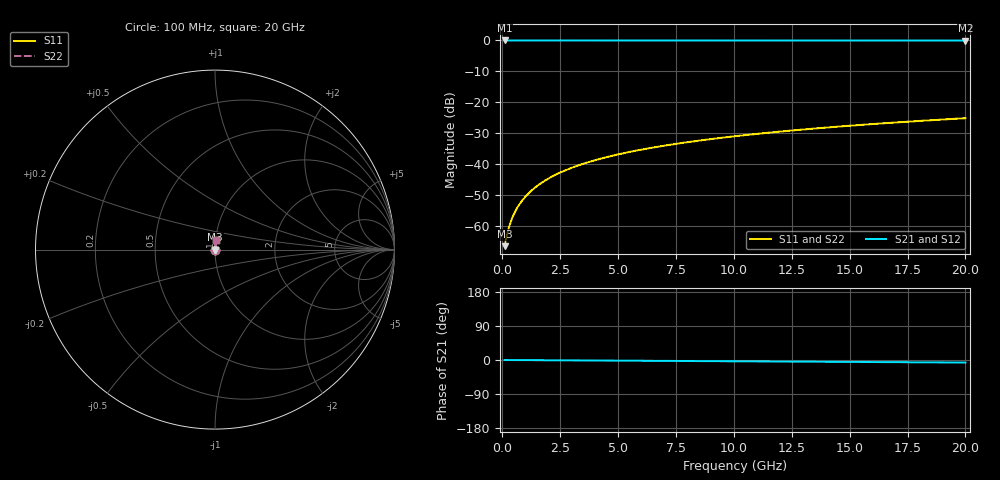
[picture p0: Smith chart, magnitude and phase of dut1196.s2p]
! Touchstone file exported from HFSS 2026.1.0
!  File:  C:/ffzhzh/LocalFiles/Ansys_Project_Files/temp_train_TSV_1196_1783192530_55132.aedt
!  Generated:  03:17:01 AM Jul  5, 2026
!  Design:  TSV
!  Project:  temp_train_TSV_1196_1783192530_55132
! Variables:
!  h_bsmrdl = 2um
!  h_ox = 20um
!  h_rdl = 5um
!  h_sub = 55.66um
!  h_tmrdl = 5um
!  h_tsv = 55.66um
!  h_via = 3um
!  l_bsmrdl = 300um
!  l_sub = 408.9um
!  l_tmrdl = 200um
!  m_sub = 200um
!  pitch = 37.41um
!  r_tsv = 4.45um
!  s_tmrdl = 10um
!  w_bsmrdl = 18um
!  w_sub = 500um
!  w_tmrdl = 12um
!  x_tsv_center1 = 206um
!  x_tsv_center2 = 524um
!  x_tsv_center3 = 736um
!  x_tsv_center4 = 1054um
!  x_tsv_center5 = 1266um
!  x_tsv_center6 = 1584um
# GHz S MA R 50.000000
! Terminal data exported
! Port[1] = TSV1_1_T1
! Port[2] = TSV1_1_T2
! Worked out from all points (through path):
!   200 points, 100 MHz to 20 GHz, reference 50 ohm
!   highest |S21| = 0.00 dB at 100 MHz (marker M1); lowest = 0.0 dB at 20 GHz (marker M2)
!   lowest |S11| = -66.5 dB at 100 MHz (marker M3), VSWR 1.00, Z = 50 + j0.031 ohm
!   |S11| at or under -10 dB: start of sweep to end of sweep
!   |S22| runs from -66.5 to -25.1 dB; largest |S21 - S12| = 3e-15
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0.1  0.0004722 41.0  0.9996 -0.0  0.9996 -0.0  0.0004722 41.0
! Gamma 0 0 0 0
! Port Impedance 50 0 50 0
0.2  0.0007161 59.1  0.9996 -0.1  0.9996 -0.1  0.0007161 59.1
0.3  0.0009903 67.4  0.9996 -0.1  0.9996 -0.1  0.0009903 67.4
0.4  0.001272 71.9  0.9996 -0.1  0.9996 -0.1  0.001272 71.9
0.5  0.001556 74.9  0.9996 -0.2  0.9996 -0.2  0.001556 74.9
0.6  0.001841 76.9  0.9996 -0.2  0.9996 -0.2  0.001841 76.9
0.8  0.002413 79.5  0.9996 -0.3  0.9996 -0.3  0.002413 79.5
1.1  0.003277 81.8  0.9995 -0.4  0.9995 -0.4  0.003277 81.8
1.5  0.004431 83.3  0.9995 -0.5  0.9995 -0.5  0.004431 83.3
1.8  0.005297 83.9  0.9995 -0.6  0.9995 -0.6  0.005297 83.9
2.1  0.006161 84.4  0.9994 -0.7  0.9994 -0.7  0.006161 84.4
2.7  0.007882 84.8  0.9994 -0.9  0.9994 -0.9  0.007882 84.8
3.5  0.01016 85.0  0.9993 -1.2  0.9993 -1.2  0.01016 85.0
4.2  0.01213 85.0  0.9992 -1.4  0.9992 -1.4  0.01213 85.0
5  0.01437 85.0  0.9991 -1.7  0.9991 -1.7  0.01437 85.0
5.9  0.01688 84.9  0.9989 -2.0  0.9989 -2.0  0.01688 84.9
6.8  0.01937 84.7  0.9988 -2.3  0.9988 -2.3  0.01937 84.7
8.3  0.0235 84.5  0.9986 -2.8  0.9986 -2.8  0.0235 84.5
10.1  0.02843 84.1  0.9984 -3.4  0.9984 -3.4  0.02843 84.1
13.4  0.03745 83.3  0.9979 -4.5  0.9979 -4.5  0.03745 83.3
16.7  0.04642 82.4  0.9974 -5.6  0.9974 -5.6  0.04642 82.4
20  0.05535 81.5  0.9967 -6.7  0.9967 -6.7  0.05535 81.5
